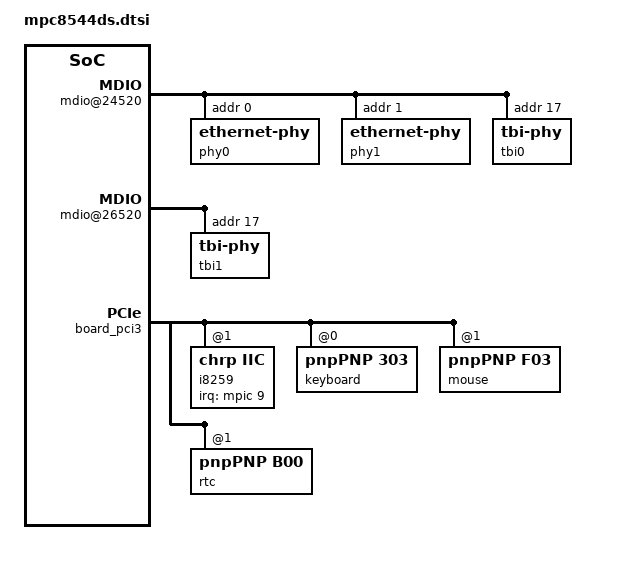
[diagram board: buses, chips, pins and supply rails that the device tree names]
/*
 * MPC8544DS Device Tree Source stub (no addresses or top-level ranges)
 *
 * Copyright 2011 Freescale Semiconductor Inc.
 *
 * Redistribution and use in source and binary forms, with or without
 * modification, are permitted provided that the following conditions are met:
 *     * Redistributions of source code must retain the above copyright
 *       notice, this list of conditions and the following disclaimer.
 *     * Redistributions in binary form must reproduce the above copyright
 *       notice, this list of conditions and the following disclaimer in the
 *       documentation and/or other materials provided with the distribution.
 *     * Neither the name of Freescale Semiconductor nor the
 *       names of its contributors may be used to endorse or promote products
 *       derived from this software without specific prior written permission.
 *
 *
 * ALTERNATIVELY, this software may be distributed under the terms of the
 * GNU General Public License ("GPL") as published by the Free Software
 * Foundation, either version 2 of that License or (at your option) any
 * later version.
 *
 * THIS SOFTWARE IS PROVIDED BY Freescale Semiconductor ``AS IS'' AND ANY
 * EXPRESS OR IMPLIED WARRANTIES, INCLUDING, BUT NOT LIMITED TO, THE IMPLIED
 * WARRANTIES OF MERCHANTABILITY AND FITNESS FOR A PARTICULAR PURPOSE ARE
 * DISCLAIMED. IN NO EVENT SHALL Freescale Semiconductor BE LIABLE FOR ANY
 * DIRECT, INDIRECT, INCIDENTAL, SPECIAL, EXEMPLARY, OR CONSEQUENTIAL DAMAGES
 * (INCLUDING, BUT NOT LIMITED TO, PROCUREMENT OF SUBSTITUTE GOODS OR SERVICES;
 * LOSS OF USE, DATA, OR PROFITS; OR BUSINESS INTERRUPTION) HOWEVER CAUSED AND
 * ON ANY THEORY OF LIABILITY, WHETHER IN CONTRACT, STRICT LIABILITY, OR TORT
 * (INCLUDING NEGLIGENCE OR OTHERWISE) ARISING IN ANY WAY OUT OF THE USE OF THIS
 * SOFTWARE, EVEN IF ADVISED OF THE POSSIBILITY OF SUCH DAMAGE.
 */

&board_soc {
	enet0: ethernet@24000 {
		phy-handle = <&phy0>;
		tbi-handle = <&tbi0>;
		phy-connection-type = "rgmii-id";
	};

	mdio@24520 {
		phy0: ethernet-phy@0 {
			interrupts = <10 1 0 0>;
			reg = <0x0>;
			device_type = "ethernet-phy";
		};
		phy1: ethernet-phy@1 {
			interrupts = <10 1 0 0>;
			reg = <0x1>;
			device_type = "ethernet-phy";
		};

		tbi0: tbi-phy@11 {
			reg = <0x11>;
			device_type = "tbi-phy";
		};
	};

	enet2: ethernet@26000 {
		phy-handle = <&phy1>;
		tbi-handle = <&tbi1>;
		phy-connection-type = "rgmii-id";
	};

	mdio@26520 {
		tbi1: tbi-phy@11 {
			reg = <0x11>;
			device_type = "tbi-phy";
		};
	};
};

&board_pci3 {
	pcie@0 {
		interrupt-map-mask = <0xff00 0x0 0x0 0x7>;
		interrupt-map = <
			// IDSEL 0x1c  USB
			0xe000 0x0 0x0 0x1 &i8259 0xc 0x2
			0xe100 0x0 0x0 0x2 &i8259 0x9 0x2
			0xe200 0x0 0x0 0x3 &i8259 0xa 0x2
			0xe300 0x0 0x0 0x4 &i8259 0xb 0x2

			// IDSEL 0x1d  Audio
			0xe800 0x0 0x0 0x1 &i8259 0x6 0x2

			// IDSEL 0x1e Legacy
			0xf000 0x0 0x0 0x1 &i8259 0x7 0x2
			0xf100 0x0 0x0 0x1 &i8259 0x7 0x2

			// IDSEL 0x1f IDE/SATA
			0xf800 0x0 0x0 0x1 &i8259 0xe 0x2
			0xf900 0x0 0x0 0x1 &i8259 0x5 0x2
			>;


		uli1575@0 {
			reg = <0x0 0x0 0x0 0x0 0x0>;
			#size-cells = <2>;
			#address-cells = <3>;
			ranges = <0x2000000 0x0 0xb0000000
				  0x2000000 0x0 0xb0000000
				  0x0 0x100000

				  0x1000000 0x0 0x0
				  0x1000000 0x0 0x0
				  0x0 0x100000>;
			isa@1e {
				device_type = "isa";
				#interrupt-cells = <2>;
				#size-cells = <1>;
				#address-cells = <2>;
				reg = <0xf000 0x0 0x0 0x0 0x0>;
				ranges = <0x1 0x0 0x1000000 0x0 0x0
					  0x1000>;
				interrupt-parent = <&i8259>;

				i8259: interrupt-controller@20 {
					reg = <0x1 0x20 0x2
					       0x1 0xa0 0x2
					       0x1 0x4d0 0x2>;
					interrupt-controller;
					device_type = "interrupt-controller";
					#address-cells = <0>;
					#interrupt-cells = <2>;
					compatible = "chrp,iic";
					interrupts = <9 2 0 0>;
					interrupt-parent = <&mpic>;
				};

				i8042@60 {
					#size-cells = <0>;
					#address-cells = <1>;
					reg = <0x1 0x60 0x1 0x1 0x64 0x1>;
					interrupts = <1 3 12 3>;
					interrupt-parent =
						<&i8259>;

					keyboard@0 {
						reg = <0x0>;
						compatible = "pnpPNP,303";
					};

					mouse@1 {
						reg = <0x1>;
						compatible = "pnpPNP,f03";
					};
				};

				rtc@70 {
					compatible = "pnpPNP,b00";
					reg = <0x1 0x70 0x2>;
				};

				gpio@400 {
					reg = <0x1 0x400 0x80>;
				};
			};
		};
	};
};
